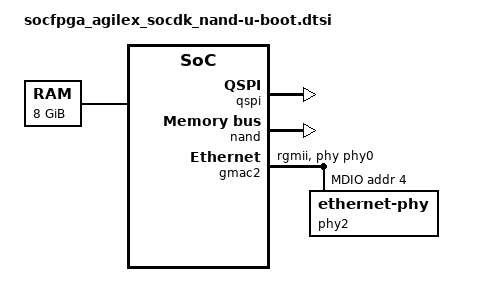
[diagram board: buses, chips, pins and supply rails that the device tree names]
// SPDX-License-Identifier: GPL-2.0+
/*
 * U-Boot additions
 *
 * Copyright (C) 2025 Altera Corporation <www.altera.com>
 */

#include "socfpga_agilex-u-boot.dtsi"

/{
	chosen {
		stdout-path = "serial0:115200n8";
		u-boot,spl-boot-order = &mmc,&flash0,&nand;
	};

	memory@0 {
		/* 8GB */
		reg = <0 0x00000000 0 0x80000000>,
		      <2 0x80000000 1 0x80000000>;
	};
};

&qspi {
	status = "okay";
};

&nand {
	status = "okay";
	nand-bus-width = <16>;
	bootph-all;
};

&mmc {
	drvsel = <3>;
	smplsel = <0>;
	bootph-all;
};

&qspi {
	/delete-property/ clocks;
};

&flash0 {
	reg = <0>;
	spi-tx-bus-width = <4>;
	spi-rx-bus-width = <4>;
	spi-max-frequency = <100000000>;
	bootph-all;

	m25p,fast-read;
	cdns,page-size = <256>;
	cdns,block-size = <16>;
	cdns,read-delay = <1>;
	cdns,tshsl-ns = <50>;
	cdns,tsd2d-ns = <50>;
	cdns,tchsh-ns = <4>;
	cdns,tslch-ns = <4>;
	/delete-property/ cdns,read-delay;
};

&gmac0 {
	status = "disabled";
};

&gmac2 {
	status = "okay";
	phy-mode = "rgmii";
	phy-handle = <&phy0>;

	max-frame-size = <3800>;

	mdio2 {
		#address-cells = <1>;
		#size-cells = <0>;
		compatible = "snps,dwmac-mdio";
		phy2: ethernet-phy@2 {
			reg = <4>;

			txd0-skew-ps = <0>; /* -420ps */
			txd1-skew-ps = <0>; /* -420ps */
			txd2-skew-ps = <0>; /* -420ps */
			txd3-skew-ps = <0>; /* -420ps */
			rxd0-skew-ps = <420>; /* 0ps */
			rxd1-skew-ps = <420>; /* 0ps */
			rxd2-skew-ps = <420>; /* 0ps */
			rxd3-skew-ps = <420>; /* 0ps */
			txen-skew-ps = <0>; /* -420ps */
			txc-skew-ps = <1860>; /* 960ps */
			rxdv-skew-ps = <420>; /* 0ps */
			rxc-skew-ps = <1680>; /* 780ps */
		};
	};
};
